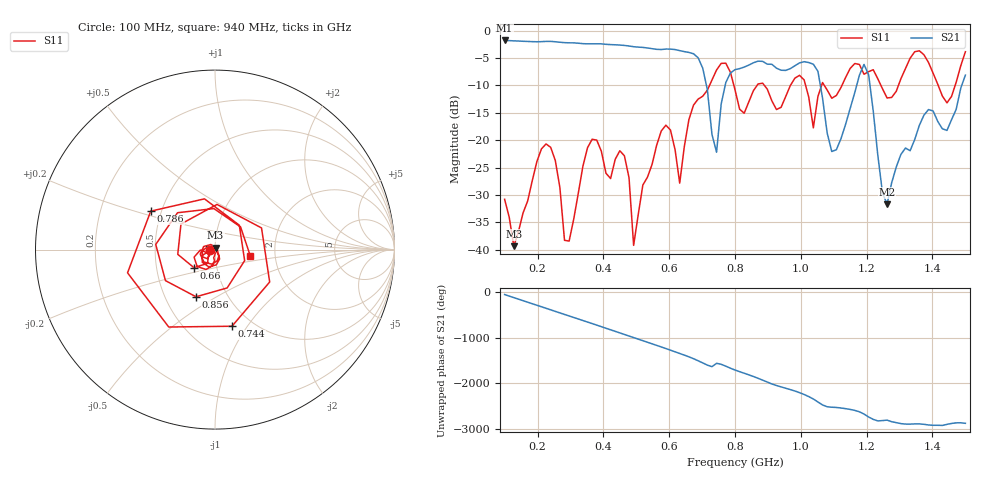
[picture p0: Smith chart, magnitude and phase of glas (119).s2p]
! NanoVNA-App
! Date: 2025-09-25 17:39:42
! Start: 100MHz Stop: 1,5GHz Points: 101
! S-Parameter data: F S11 S21 S12 S22
# Hz S RI R 50
!  Frequency  S11_Real  S11_Imag  S21_Real  S21_Imag  S12_Real  S12_Imag  S22_Real  S22_Imag
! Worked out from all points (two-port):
!   101 points, 100 MHz to 1.5 GHz, reference 50 ohm
!   highest |S21| = -1.80 dB at 100 MHz (marker M1); lowest = -31.7 dB at 1.262 GHz (marker M2)
!   |S21| within 3 dB of the highest: start of sweep to 684.8 MHz
!   lowest |S11| = -39.3 dB at 128 MHz (marker M3), VSWR 1.02, Z = 50.3 + j1.03 ohm
!   |S11| at or under -10 dB: start of sweep to 722.6 MHz; 796.5 MHz to 867 MHz (70.5 MHz wide, 8.48 % of centre); 889.3 MHz to 968.4 MHz (79.1 MHz wide, 8.52 % of centre)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
!   S12 and S22 are empty: the file has one direction only
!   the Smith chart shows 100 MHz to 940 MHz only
!   S11 on the Smith chart (normalised r, x): 100 MHz: 0.94, -0.01; 660 MHz: 0.78, -0.16; 744 MHz: 0.81, -0.85; 786 MHz: 0.44, +0.23; 856 MHz: 0.71, -0.41; 940 MHz: 1.48, -0.11
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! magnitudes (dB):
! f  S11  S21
! 100 MHz  -30.8  -1.8
! 128 MHz  -39.3  -1.9
! 212 MHz  -21.6  -2.0
! 282 MHz  -38.3  -2.2
! 338 MHz  -24.7  -2.4
! 464 MHz  -22.8  -2.7
! 492 MHz  -39.2  -2.9
! 576 MHz  -18.3  -3.5
! 632 MHz  -27.8  -3.7
! 660 MHz  -16.2  -4.0
! 744 MHz  -7.2  -22.2
! 786 MHz  -7.6  -7.7
! 800 MHz  -10.8  -7.1
! 856 MHz  -11.0  -5.9
! 940 MHz  -14.0  -7.2
! 996 MHz  -8.2  -5.9
! 1.038 GHz  -17.7  -6.1
! 1.094 GHz  -12.3  -22.1
! 1.192 GHz  -8.0  -6.2
! 1.262 GHz  -12.3  -31.7
! 1.276 GHz  -12.2  -27.8
! 1.5 GHz  -3.9  -8.1
